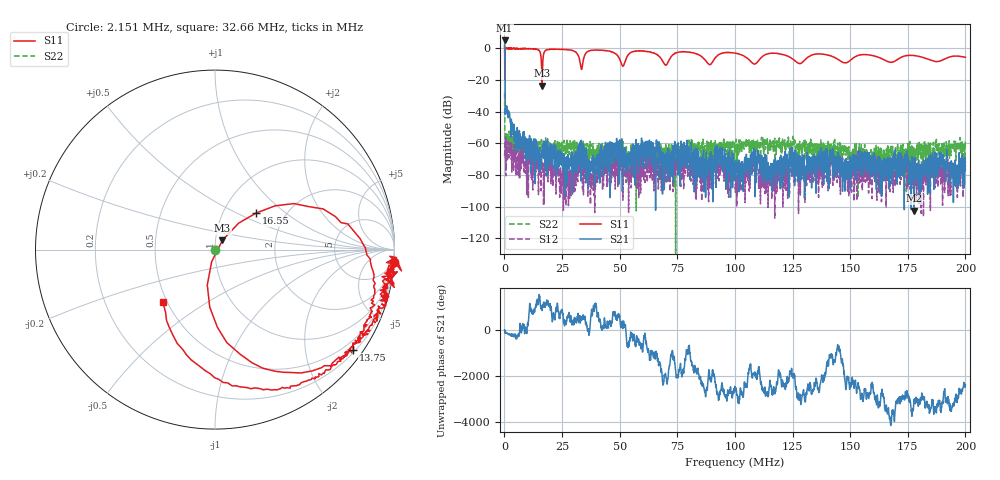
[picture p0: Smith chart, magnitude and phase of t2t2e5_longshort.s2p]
! 12-May-26 12:32:13 PM
! E:\REC_VNA_20260512\T2T2E5_LONGSHORT.S2P
! CHANNEL.1
! TR.MEASUREMENT
! CORRECTED.DATA
# GHZ S RI R 50.0
! FREQ.GHZ  S11RE  S11IM  S21RE  S21IM  S12RE  S12IM  S22RE  S22IM
!; PortSelection: Port_12
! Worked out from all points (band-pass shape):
!   2000 points, 50 kHz to 200 MHz, reference 50 ohm
!   highest |S21| = 5.00 dB at 50 kHz (marker M1); lowest = -102.5 dB at 177.7 MHz (marker M2)
!   |S21| within 3 dB of the highest: start of sweep to 76.08 kHz
!   lowest |S11| = -23.6 dB at 16.35 MHz (marker M3), VSWR 1.14, Z = 54 + j5.63 ohm
!   |S11| at or under -10 dB: 32.95 MHz to 33.9 MHz (949.5 kHz wide, 2.84 % of centre); 50.82 MHz to 51.91 MHz (1.087 MHz wide, 2.12 % of centre); 69.42 MHz to 70.52 MHz (1.1 MHz wide, 1.57 % of centre)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
!   |S22| runs from -130.0 to -28.0 dB; largest |S21 - S12| = 1.8
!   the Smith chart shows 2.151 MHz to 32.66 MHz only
!   S11 on the Smith chart (normalised r, x): 2.151 MHz: 1, -28; 13.75 MHz: 0.26, -3.07; 16.55 MHz: 1.42, +0.64; 32.66 MHz: 0.47, -0.33
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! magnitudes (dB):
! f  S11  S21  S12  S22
! 50 kHz  1.6  5.0  -68.1  -28.0
! 1.35 MHz  0.0  -42.2  -66.6  -57.5
! 2.151 MHz  0.0  -40.9  -59.6  -57.2
! 5.151 MHz  -0.1  -54.0  -75.6  -59.9
! 13.75 MHz  -0.4  -66.8  -70.6  -61.9
! 16.35 MHz  -23.6  -64.3  -77.0  -62.8
! 16.55 MHz  -10.3  -64.8  -77.1  -64.9
! 26.16 MHz  -0.8  -71.1  -88.9  -63.5
! 32.66 MHz  -7.7  -68.8  -75.2  -62.6
! 33.46 MHz  -13.3  -63.7  -78.5  -61.7
! 38.06 MHz  -1.2  -70.1  -80.9  -68.0
! 47.66 MHz  -2.9  -60.0  -82.1  -65.9
! 51.36 MHz  -11.4  -72.4  -95.9  -71.9
! 56.16 MHz  -2.0  -61.3  -73.2  -64.2
! 66.77 MHz  -4.6  -72.3  -88.9  -73.3
! 100.1 MHz  -3.0  -71.7  -78.4  -62.2
! 108.5 MHz  -9.9  -71.4  -77.8  -59.8
! 115 MHz  -3.2  -83.4  -76.7  -60.1
! 133.4 MHz  -4.2  -72.9  -76.2  -61.2
! 166.7 MHz  -8.5  -77.9  -88.2  -67.3
! 177.7 MHz  -4.5  -102.5  -94.3  -63.6
! 200 MHz  -5.6  -76.9  -71.3  -64.0
